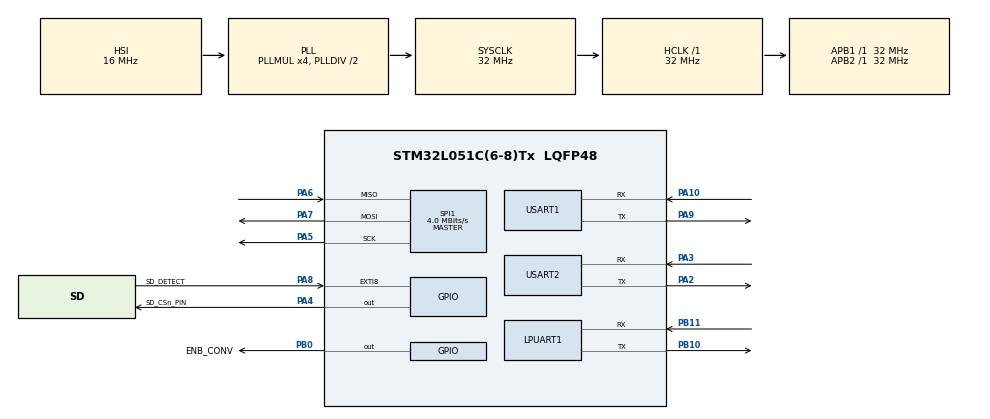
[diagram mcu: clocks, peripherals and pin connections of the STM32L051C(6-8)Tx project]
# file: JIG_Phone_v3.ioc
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Dma.LPUART1_RX.2.Direction=DMA_PERIPH_TO_MEMORY
Dma.LPUART1_RX.2.Instance=DMA1_Channel6
Dma.LPUART1_RX.2.MemDataAlignment=DMA_MDATAALIGN_BYTE
Dma.LPUART1_RX.2.MemInc=DMA_MINC_ENABLE
Dma.LPUART1_RX.2.Mode=DMA_CIRCULAR
Dma.LPUART1_RX.2.PeriphDataAlignment=DMA_PDATAALIGN_BYTE
Dma.LPUART1_RX.2.PeriphInc=DMA_PINC_DISABLE
Dma.LPUART1_RX.2.Priority=DMA_PRIORITY_LOW
Dma.Request0=USART1_RX
Dma.Request1=USART2_RX
Dma.Request2=LPUART1_RX
Dma.USART1_RX.0.Direction=DMA_PERIPH_TO_MEMORY
Dma.USART1_RX.0.Instance=DMA1_Channel3
Dma.USART1_RX.0.MemDataAlignment=DMA_MDATAALIGN_BYTE
Dma.USART1_RX.0.MemInc=DMA_MINC_ENABLE
Dma.USART1_RX.0.Mode=DMA_CIRCULAR
Dma.USART1_RX.0.PeriphDataAlignment=DMA_PDATAALIGN_BYTE
Dma.USART1_RX.0.PeriphInc=DMA_PINC_DISABLE
Dma.USART1_RX.0.Priority=DMA_PRIORITY_LOW
Dma.USART2_RX.1.Direction=DMA_PERIPH_TO_MEMORY
Dma.USART2_RX.1.Instance=DMA1_Channel5
Dma.USART2_RX.1.MemDataAlignment=DMA_MDATAALIGN_BYTE
Dma.USART2_RX.1.MemInc=DMA_MINC_ENABLE
Dma.USART2_RX.1.Mode=DMA_CIRCULAR
Dma.USART2_RX.1.PeriphDataAlignment=DMA_PDATAALIGN_BYTE
Dma.USART2_RX.1.PeriphInc=DMA_PINC_DISABLE
Dma.USART2_RX.1.Priority=DMA_PRIORITY_LOW
Mcu.Family=STM32L0
Mcu.Name=STM32L051C(6-8)Tx
Mcu.Package=LQFP48
NVIC.DMA1_Channel2_3_IRQn=true\:0\:0\:false\:false\:true\:false
NVIC.DMA1_Channel4_5_6_7_IRQn=true\:0\:0\:false\:false\:true\:false
NVIC.SPI1_IRQn=true\:0\:0\:false\:false\:true\:true
PA10.Mode=Asynchronous
PA10.Signal=USART1_RX
PA2.Mode=Asynchronous
PA2.Signal=USART2_TX
PA3.Mode=Asynchronous
PA3.Signal=USART2_RX
PA4.GPIO_Label=SD_CSn_PIN
PA4.PinState=GPIO_PIN_SET
PA4.Signal=GPIO_Output
PA5.Mode=Full_Duplex_Master
PA5.Signal=SPI1_SCK
PA6.Mode=Full_Duplex_Master
PA6.Signal=SPI1_MISO
PA7.Mode=Full_Duplex_Master
PA7.Signal=SPI1_MOSI
PA8.GPIO_Label=SD_DETECT
PA8.GPIO_ModeDefaultEXTI=GPIO_MODE_IT_RISING_FALLING
PA8.GPIO_PuPd=GPIO_PULLUP
PA8.Signal=GPXTI8
PA9.Mode=Asynchronous
PA9.Signal=USART1_TX
PB0.GPIO_Label=ENB_CONV
PB0.PinState=GPIO_PIN_SET
PB0.Signal=GPIO_Output
PB10.Mode=Asynchronous
PB10.Signal=LPUART1_TX
PB11.Mode=Asynchronous
PB11.Signal=LPUART1_RX
ProjectManager.HeapSize=0x200
ProjectManager.StackSize=0x400
ProjectManager.TargetToolchain=TrueSTUDIO
RCC.AHBFreq_Value=32000000
RCC.APB1Freq_Value=32000000
RCC.APB1TimFreq_Value=32000000
RCC.APB2Freq_Value=32000000
RCC.APB2TimFreq_Value=32000000
RCC.HCLKFreq_Value=32000000
RCC.HSE_VALUE=8000000
RCC.HSI16_VALUE=16000000
RCC.HSI_VALUE=16000000
RCC.LSE_VALUE=32768
RCC.MSI_VALUE=2097000
RCC.PLLMUL=RCC_PLLMUL_4
RCC.SYSCLKFreq_VALUE=32000000
RCC.SYSCLKSource=RCC_SYSCLKSOURCE_PLLCLK
RCC.VCOOutputFreq_Value=64000000
SPI1.BaudRatePrescaler=SPI_BAUDRATEPRESCALER_8
SPI1.CalculateBaudRate=4.0 MBits/s
SPI1.Direction=SPI_DIRECTION_2LINES
SPI1.Mode=SPI_MODE_MASTER
SPI1.VirtualType=VM_MASTER
USART1.VirtualMode-Asynchronous=VM_ASYNC
USART2.VirtualMode-Asynchronous=VM_ASYNC
VP_FATFS_VS_Generic.Mode=User_defined
VP_RTC_VS_RTC_Activate.Mode=RTC_Enabled
board=custom

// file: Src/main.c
/**
  ******************************************************************************
  * @file           : main.c
  * @brief          : Main program body
  ******************************************************************************
  * This notice applies to any and all portions of this file
  * that are not between comment pairs USER CODE BEGIN and
  * USER CODE END. Other portions of this file, whether
  * inserted by the user or by software development tools
  * are owned by their respective copyright owners.
  *
  * Copyright (c) 2018 STMicroelectronics International N.V.
  * All rights reserved.
  *
  * Redistribution and use in source and binary forms, with or without
  * modification, are permitted, provided that the following conditions are met:
  *
  * 1. Redistribution of source code must retain the above copyright notice,
  *    this list of conditions and the following disclaimer.
  * 2. Redistributions in binary form must reproduce the above copyright notice,
  *    this list of conditions and the following disclaimer in the documentation
  *    and/or other materials provided with the distribution.
  * 3. Neither the name of STMicroelectronics nor the names of other
  *    contributors to this software may be used to endorse or promote products
  *    derived from this software without specific written permission.
  * 4. This software, including modifications and/or derivative works of this
  *    software, must execute solely and exclusively on microcontroller or
  *    microprocessor devices manufactured by or for STMicroelectronics.
  * 5. Redistribution and use of this software other than as permitted under
  *    this license is void and will automatically terminate your rights under
  *    this license.
  *
  * THIS SOFTWARE IS PROVIDED BY STMICROELECTRONICS AND CONTRIBUTORS "AS IS"
  * AND ANY EXPRESS, IMPLIED OR STATUTORY WARRANTIES, INCLUDING, BUT NOT
  * LIMITED TO, THE IMPLIED WARRANTIES OF MERCHANTABILITY, FITNESS FOR A
  * PARTICULAR PURPOSE AND NON-INFRINGEMENT OF THIRD PARTY INTELLECTUAL PROPERTY
  * RIGHTS ARE DISCLAIMED TO THE FULLEST EXTENT PERMITTED BY LAW. IN NO EVENT
  * SHALL STMICROELECTRONICS OR CONTRIBUTORS BE LIABLE FOR ANY DIRECT, INDIRECT,
  * INCIDENTAL, SPECIAL, EXEMPLARY, OR CONSEQUENTIAL DAMAGES (INCLUDING, BUT NOT
  * LIMITED TO, PROCUREMENT OF SUBSTITUTE GOODS OR SERVICES; LOSS OF USE, DATA,
  * OR PROFITS; OR BUSINESS INTERRUPTION) HOWEVER CAUSED AND ON ANY THEORY OF
  * LIABILITY, WHETHER IN CONTRACT, STRICT LIABILITY, OR TORT (INCLUDING
  * NEGLIGENCE OR OTHERWISE) ARISING IN ANY WAY OUT OF THE USE OF THIS SOFTWARE,
  * EVEN IF ADVISED OF THE POSSIBILITY OF SUCH DAMAGE.
  *
  ******************************************************************************
  */
#include "main.h"
#include "stm32l0xx_hal.h"
#include "fatfs.h"

/* USER CODE BEGIN Includes */
#include "string.h"
#include "uart_console.h"
#include "SDCard/sdcard.h"
#include "ExProtocol/fifo8.h"
#include "SchedNonOS.h"

// define
#define  SYS_USE_OS        (0)
#define  SIZE_FF8_BUFF     (20)
/* USER CODE END Includes */

UART_HandleTypeDef hlpuart1;
UART_HandleTypeDef huart1;
UART_HandleTypeDef huart2;
DMA_HandleTypeDef hdma_lpuart1_rx;
DMA_HandleTypeDef hdma_usart1_rx;
DMA_HandleTypeDef hdma_usart2_rx;

RTC_HandleTypeDef hrtc;

SPI_HandleTypeDef hspi1;

/* USER CODE BEGIN PV */
/* Private variables ---------------------------------------------------------*/
RTC_TimeTypeDef sTime;
RTC_DateTypeDef sDate;

uint8_t uart1_rx;
uint8_t uart2_rx;
uint8_t lpuart1_rx;
FF8     ff8_uart1;
uint8_t ff8_uart1_buff[1024];
FF8     ff8_uart2;
uint8_t ff8_uart2_buff[2048];
/* USER CODE END PV */

void SystemClock_Config(void);
static void MX_GPIO_Init(void);
static void MX_DMA_Init(void);
static void MX_LPUART1_UART_Init(void);
static void MX_SPI1_Init(void);
static void MX_USART1_UART_Init(void);
static void MX_USART2_UART_Init(void);
static void MX_RTC_Init(void);

/* USER CODE BEGIN PFP */
/* Private function prototypes -----------------------------------------------*/

/* USER CODE END PFP */

/* USER CODE BEGIN 0 */
void HAL_GPIO_EXTI_Callback(uint16_t GPIO_Pin)
{
    if(GPIO_Pin == SD_DETECT_Pin)
    {
        // TODO: the SD card is plug in or plug out
    }
}

void HAL_UART_RxCpltCallback(UART_HandleTypeDef *huart)
{
    if(huart->Instance == hlpuart1.Instance)
    {
#if (SYS_USE_OS)

#else
        g_bSemLPUART1 = 1;
#endif
    }
    else if(huart->Instance == huart1.Instance)
    {
        if(FF8_Push(&ff8_uart1, uart1_rx))
        {

        }
        else
        {
//            SOS_DEBUG("FULL buffer");
        	int var = 0;
        }
#if (SYS_USE_OS)

#else
        g_bSemUART1 = 1;
#endif
    }
    else if(huart->Instance == huart2.Instance)
    {
        if(FF8_Push(&ff8_uart2, uart2_rx))
        {
//            osSemaphoreRelease(semOmapLogHandle);
        }
        else
        {
//            SOS_DEBUG("FULL buffer");
        	int var = 0;
        }
#if (SYS_USE_OS)
        osSemaphoreRelease(semOmapLogHandle);
#else
        g_bSemUART2 = 1;
#endif

    }
}
/* USER CODE END 0 */

int main(void)
{

  /* MCU Configuration----------------------------------------------------------*/

  /* Reset of all peripherals, Initializes the Flash interface and the Systick. */
  HAL_Init();

  /* Configure the system clock */
  SystemClock_Config();

  /* USER CODE BEGIN SysInit */
  FF8_Reset(&ff8_uart1, ff8_uart1_buff, sizeof(ff8_uart1_buff));
  FF8_Reset(&ff8_uart2, ff8_uart2_buff, sizeof(ff8_uart2_buff));
  /* USER CODE END SysInit */

  /* Initialize all configured peripherals */
  MX_GPIO_Init();
  MX_DMA_Init();
  MX_LPUART1_UART_Init();
  MX_SPI1_Init();
  MX_USART1_UART_Init();
  MX_USART2_UART_Init();
  MX_FATFS_Init();
  MX_RTC_Init();
  /* USER CODE BEGIN 2 */
  HAL_UART_Receive_DMA(&hlpuart1, &lpuart1_rx, 1);
  HAL_UART_Receive_DMA(&huart1, &uart1_rx, 1);
  HAL_UART_Receive_DMA(&huart2, &uart2_rx, 1);

  /* USER CODE END 2 */

  /* Infinite loop */
  /* USER CODE BEGIN WHILE */
  NonOS_sheduler();
  while (1)
  {

  /* USER CODE END WHILE */
		//get_fattime ();
  }

}

void SystemClock_Config(void)
{

  RCC_OscInitTypeDef RCC_OscInitStruct;
  RCC_ClkInitTypeDef RCC_ClkInitStruct;
  RCC_PeriphCLKInitTypeDef PeriphClkInit;

    /**Configure the main internal regulator output voltage
    */
  __HAL_PWR_VOLTAGESCALING_CONFIG(PWR_REGULATOR_VOLTAGE_SCALE1);

    /**Initializes the CPU, AHB and APB busses clocks
    */
  RCC_OscInitStruct.OscillatorType = RCC_OSCILLATORTYPE_HSI|RCC_OSCILLATORTYPE_LSI;
  RCC_OscInitStruct.HSIState = RCC_HSI_ON;
  RCC_OscInitStruct.HSICalibrationValue = 16;
  RCC_OscInitStruct.LSIState = RCC_LSI_ON;
  RCC_OscInitStruct.PLL.PLLState = RCC_PLL_ON;
  RCC_OscInitStruct.PLL.PLLSource = RCC_PLLSOURCE_HSI;
  RCC_OscInitStruct.PLL.PLLMUL = RCC_PLLMUL_4;
  RCC_OscInitStruct.PLL.PLLDIV = RCC_PLLDIV_2;
  if (HAL_RCC_OscConfig(&RCC_OscInitStruct) != HAL_OK)
  {
    _Error_Handler(__FILE__, __LINE__);
  }

    /**Initializes the CPU, AHB and APB busses clocks
    */
  RCC_ClkInitStruct.ClockType = RCC_CLOCKTYPE_HCLK|RCC_CLOCKTYPE_SYSCLK
                              |RCC_CLOCKTYPE_PCLK1|RCC_CLOCKTYPE_PCLK2;
  RCC_ClkInitStruct.SYSCLKSource = RCC_SYSCLKSOURCE_PLLCLK;
  RCC_ClkInitStruct.AHBCLKDivider = RCC_SYSCLK_DIV1;
  RCC_ClkInitStruct.APB1CLKDivider = RCC_HCLK_DIV1;
  RCC_ClkInitStruct.APB2CLKDivider = RCC_HCLK_DIV1;

  if (HAL_RCC_ClockConfig(&RCC_ClkInitStruct, FLASH_LATENCY_1) != HAL_OK)
  {
    _Error_Handler(__FILE__, __LINE__);
  }

  PeriphClkInit.PeriphClockSelection = RCC_PERIPHCLK_USART1|RCC_PERIPHCLK_USART2
                              |RCC_PERIPHCLK_LPUART1|RCC_PERIPHCLK_RTC;
  PeriphClkInit.Usart1ClockSelection = RCC_USART1CLKSOURCE_PCLK2;
  PeriphClkInit.Usart2ClockSelection = RCC_USART2CLKSOURCE_PCLK1;
  PeriphClkInit.Lpuart1ClockSelection = RCC_LPUART1CLKSOURCE_PCLK1;
  PeriphClkInit.RTCClockSelection = RCC_RTCCLKSOURCE_LSI;
  if (HAL_RCCEx_PeriphCLKConfig(&PeriphClkInit) != HAL_OK)
  {
    _Error_Handler(__FILE__, __LINE__);
  }

    /**Configure the Systick interrupt time
    */
  HAL_SYSTICK_Config(HAL_RCC_GetHCLKFreq()/1000);

    /**Configure the Systick
    */
  HAL_SYSTICK_CLKSourceConfig(SYSTICK_CLKSOURCE_HCLK);

  /* SysTick_IRQn interrupt configuration */
  HAL_NVIC_SetPriority(SysTick_IRQn, 0, 0);
}

/* LPUART1 init function */
static void MX_LPUART1_UART_Init(void)
{

  hlpuart1.Instance = LPUART1;
  hlpuart1.Init.BaudRate = 209700;
  hlpuart1.Init.WordLength = UART_WORDLENGTH_7B;
  hlpuart1.Init.StopBits = UART_STOPBITS_1;
  hlpuart1.Init.Parity = UART_PARITY_NONE;
  hlpuart1.Init.Mode = UART_MODE_TX_RX;
  hlpuart1.Init.HwFlowCtl = UART_HWCONTROL_NONE;
  hlpuart1.Init.OneBitSampling = UART_ONE_BIT_SAMPLE_DISABLE;
  hlpuart1.AdvancedInit.AdvFeatureInit = UART_ADVFEATURE_NO_INIT;
  if (HAL_UART_Init(&hlpuart1) != HAL_OK)
  {
    _Error_Handler(__FILE__, __LINE__);
  }

}

/* USART1 init function */
static void MX_USART1_UART_Init(void)
{

  huart1.Instance = USART1;
  huart1.Init.BaudRate = 115200;
  huart1.Init.WordLength = UART_WORDLENGTH_8B;
  huart1.Init.StopBits = UART_STOPBITS_1;
  huart1.Init.Parity = UART_PARITY_NONE;
  huart1.Init.Mode = UART_MODE_TX_RX;
  huart1.Init.HwFlowCtl = UART_HWCONTROL_NONE;
  huart1.Init.OverSampling = UART_OVERSAMPLING_16;
  huart1.Init.OneBitSampling = UART_ONE_BIT_SAMPLE_DISABLE;
  huart1.AdvancedInit.AdvFeatureInit = UART_ADVFEATURE_NO_INIT;
  if (HAL_UART_Init(&huart1) != HAL_OK)
  {
    _Error_Handler(__FILE__, __LINE__);
  }

}

/* USART2 init function */
static void MX_USART2_UART_Init(void)
{

  huart2.Instance = USART2;
  huart2.Init.BaudRate = 115200;
  huart2.Init.WordLength = UART_WORDLENGTH_8B;
  huart2.Init.StopBits = UART_STOPBITS_1;
  huart2.Init.Parity = UART_PARITY_NONE;
  huart2.Init.Mode = UART_MODE_TX_RX;
  huart2.Init.HwFlowCtl = UART_HWCONTROL_NONE;
  huart2.Init.OverSampling = UART_OVERSAMPLING_16;
  huart2.Init.OneBitSampling = UART_ONE_BIT_SAMPLE_DISABLE;
  huart2.AdvancedInit.AdvFeatureInit = UART_ADVFEATURE_NO_INIT;
  if (HAL_UART_Init(&huart2) != HAL_OK)
  {
    _Error_Handler(__FILE__, __LINE__);
  }

}

/* RTC init function */
static void MX_RTC_Init(void)
{

    /**Initialize RTC Only
    */
	hrtc.Instance = RTC;
	hrtc.Init.HourFormat = RTC_HOURFORMAT_24;
	hrtc.Init.AsynchPrediv = 127;
	hrtc.Init.SynchPrediv = 255;
	hrtc.Init.OutPut = RTC_OUTPUT_DISABLE;
	hrtc.Init.OutPutRemap = RTC_OUTPUT_REMAP_NONE;
	hrtc.Init.OutPutPolarity = RTC_OUTPUT_POLARITY_HIGH;
	hrtc.Init.OutPutType = RTC_OUTPUT_TYPE_OPENDRAIN;
	if(HAL_RTC_Init (&hrtc) != HAL_OK)
	{
		_Error_Handler (__FILE__, __LINE__);
	}

	/**Initialize RTC and set the Time and Date
	 */
	sTime.Hours = 10;
	sTime.Minutes = 59;
	sTime.Seconds = 59;
	sTime.DayLightSaving = RTC_DAYLIGHTSAVING_NONE;
	sTime.StoreOperation = RTC_STOREOPERATION_RESET;
	if(HAL_RTC_SetTime (&hrtc, &sTime, RTC_FORMAT_BIN) != HAL_OK)
	{
		_Error_Handler (__FILE__, __LINE__);
	}

	sDate.WeekDay = RTC_WEEKDAY_FRIDAY;
	sDate.Month = RTC_MONTH_NOVEMBER;
	sDate.Date = 23;
	sDate.Year = 18;

	if(HAL_RTC_SetDate (&hrtc, &sDate, RTC_FORMAT_BIN) != HAL_OK)
	{
		_Error_Handler (__FILE__, __LINE__);
	}

}

/* SPI1 init function */
static void MX_SPI1_Init(void)
{

  /* SPI1 parameter configuration*/
  hspi1.Instance = SPI1;
  hspi1.Init.Mode = SPI_MODE_MASTER;
  hspi1.Init.Direction = SPI_DIRECTION_2LINES;
  hspi1.Init.DataSize = SPI_DATASIZE_8BIT;
  hspi1.Init.CLKPolarity = SPI_POLARITY_LOW;
  hspi1.Init.CLKPhase = SPI_PHASE_1EDGE;
  hspi1.Init.NSS = SPI_NSS_SOFT;
  hspi1.Init.BaudRatePrescaler = SPI_BAUDRATEPRESCALER_8;
  hspi1.Init.FirstBit = SPI_FIRSTBIT_MSB;
  hspi1.Init.TIMode = SPI_TIMODE_DISABLE;
  hspi1.Init.CRCCalculation = SPI_CRCCALCULATION_DISABLE;
  hspi1.Init.CRCPolynomial = 7;
  if (HAL_SPI_Init(&hspi1) != HAL_OK)
  {
    _Error_Handler(__FILE__, __LINE__);
  }

}

static void MX_DMA_Init(void)
{
  /* DMA controller clock enable */
  __HAL_RCC_DMA1_CLK_ENABLE();

  /* DMA interrupt init */
  /* DMA1_Channel2_3_IRQn interrupt configuration */
  HAL_NVIC_SetPriority(DMA1_Channel2_3_IRQn, 0, 0);
  HAL_NVIC_EnableIRQ(DMA1_Channel2_3_IRQn);
  /* DMA1_Channel4_5_6_7_IRQn interrupt configuration */
  HAL_NVIC_SetPriority(DMA1_Channel4_5_6_7_IRQn, 0, 0);
  HAL_NVIC_EnableIRQ(DMA1_Channel4_5_6_7_IRQn);

}

/** Configure pins as
        * Analog
        * Input
        * Output
        * EVENT_OUT
        * EXTI
*/
static void MX_GPIO_Init(void)
{

  GPIO_InitTypeDef GPIO_InitStruct;

  /* GPIO Ports Clock Enable */
  __HAL_RCC_GPIOA_CLK_ENABLE();
  __HAL_RCC_GPIOB_CLK_ENABLE();

  /*Configure GPIO pin Output Level */
  HAL_GPIO_WritePin(SD_CSn_PIN_GPIO_Port, SD_CSn_PIN_Pin, GPIO_PIN_SET);

  /*Configure GPIO pin Output Level */
  HAL_GPIO_WritePin(ENB_CONV_GPIO_Port, ENB_CONV_Pin, GPIO_PIN_SET);

  /*Configure GPIO pin : SD_CSn_PIN_Pin */
  GPIO_InitStruct.Pin = SD_CSn_PIN_Pin;
  GPIO_InitStruct.Mode = GPIO_MODE_OUTPUT_PP;
  GPIO_InitStruct.Pull = GPIO_NOPULL;
  GPIO_InitStruct.Speed = GPIO_SPEED_FREQ_LOW;
  HAL_GPIO_Init(SD_CSn_PIN_GPIO_Port, &GPIO_InitStruct);

  /*Configure GPIO pin : ENB_CONV_Pin */
  GPIO_InitStruct.Pin = ENB_CONV_Pin;
  GPIO_InitStruct.Mode = GPIO_MODE_OUTPUT_PP;
  GPIO_InitStruct.Pull = GPIO_NOPULL;
  GPIO_InitStruct.Speed = GPIO_SPEED_FREQ_LOW;
  HAL_GPIO_Init(ENB_CONV_GPIO_Port, &GPIO_InitStruct);

  /*Configure GPIO pin : SD_DETECT_Pin */
  GPIO_InitStruct.Pin = SD_DETECT_Pin;
  GPIO_InitStruct.Mode = GPIO_MODE_IT_RISING_FALLING;
  GPIO_InitStruct.Pull = GPIO_PULLUP;
  HAL_GPIO_Init(SD_DETECT_GPIO_Port, &GPIO_InitStruct);

}

void _Error_Handler(char *file, int line)
{
  while(1)
  {
  }
}

#ifdef  USE_FULL_ASSERT
/**
  * @brief  Reports the name of the source file and the source line number
  *         where the assert_param error has occurred.
  * @param  file: pointer to the source file name
  * @param  line: assert_param error line source number
  * @retval None
  */
void assert_failed(uint8_t* file, uint32_t line)
{
  /* USER CODE BEGIN 6 */
  /* User can add his own implementation to report the file name and line number,
     tex: printf("Wrong parameters value: file %s on line %d\r\n", file, line) */
	printf ("Wrong parameters value: file %s on line %d\r\n", file, (int) line);
	while (1)
		;
  /* USER CODE END 6 */
}
#endif /* USE_FULL_ASSERT */

/************************ (C) COPYRIGHT STMicroelectronics *****END OF FILE****/
